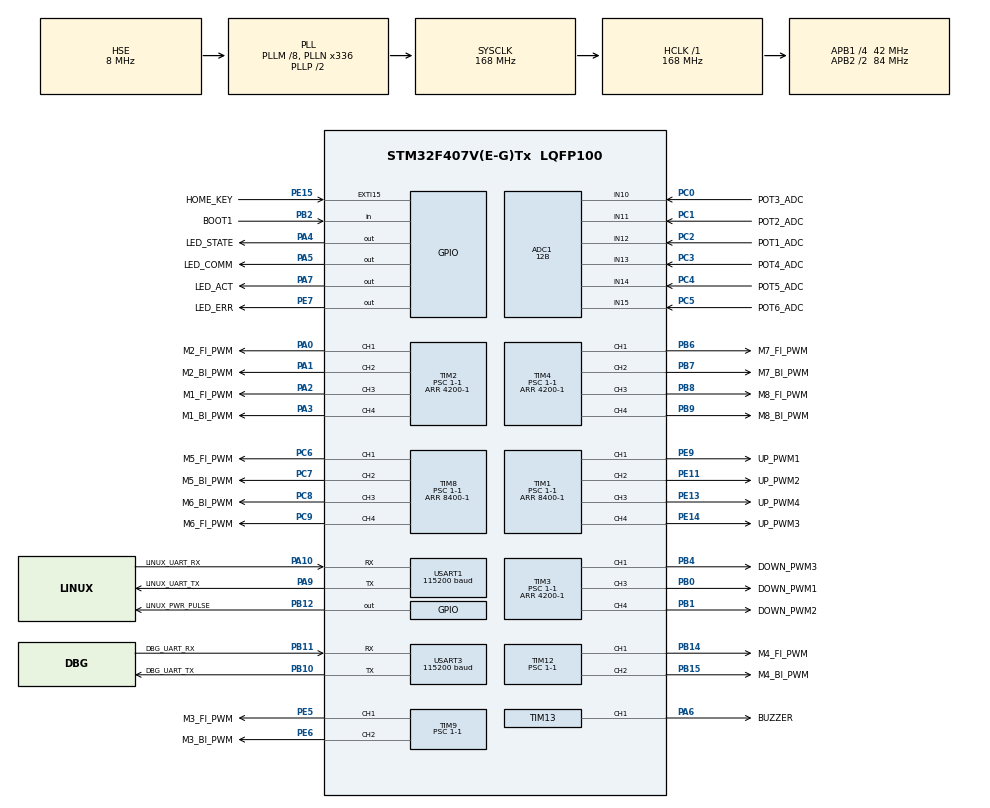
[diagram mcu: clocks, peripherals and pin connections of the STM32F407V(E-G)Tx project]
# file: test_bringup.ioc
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ADC1.Channel-0\#ChannelRegularConversion=ADC_CHANNEL_12
ADC1.Channel-1\#ChannelRegularConversion=ADC_CHANNEL_11
ADC1.Channel-2\#ChannelRegularConversion=ADC_CHANNEL_10
ADC1.Channel-3\#ChannelRegularConversion=ADC_CHANNEL_13
ADC1.Channel-4\#ChannelRegularConversion=ADC_CHANNEL_14
ADC1.Channel-5\#ChannelRegularConversion=ADC_CHANNEL_15
ADC1.ClockPrescaler=ADC_CLOCK_SYNC_PCLK_DIV4
ADC1.ContinuousConvMode=DISABLE
ADC1.DMAContinuousRequests=DISABLE
ADC1.DataAlign=ADC_DATAALIGN_RIGHT
ADC1.DiscontinuousConvMode=DISABLE
ADC1.EOCSelection=ADC_EOC_SEQ_CONV
ADC1.ExternalTrigConvEdge=ADC_EXTERNALTRIGCONVEDGE_NONE
ADC1.NbrOfConversion=6
ADC1.NbrOfConversionFlag=1
ADC1.Rank-0\#ChannelRegularConversion=1
ADC1.Rank-1\#ChannelRegularConversion=2
ADC1.Rank-2\#ChannelRegularConversion=3
ADC1.Rank-3\#ChannelRegularConversion=4
ADC1.Rank-4\#ChannelRegularConversion=5
ADC1.Rank-5\#ChannelRegularConversion=6
ADC1.Resolution=ADC_RESOLUTION_12B
ADC1.SamplingTime-0\#ChannelRegularConversion=ADC_SAMPLETIME_84CYCLES
ADC1.SamplingTime-1\#ChannelRegularConversion=ADC_SAMPLETIME_84CYCLES
ADC1.SamplingTime-2\#ChannelRegularConversion=ADC_SAMPLETIME_84CYCLES
ADC1.SamplingTime-3\#ChannelRegularConversion=ADC_SAMPLETIME_84CYCLES
ADC1.SamplingTime-4\#ChannelRegularConversion=ADC_SAMPLETIME_84CYCLES
ADC1.SamplingTime-5\#ChannelRegularConversion=ADC_SAMPLETIME_84CYCLES
ADC1.ScanConvMode=ENABLE
ADC1.master=1
Dma.ADC1.0.Direction=DMA_PERIPH_TO_MEMORY
Dma.ADC1.0.FIFOMode=DMA_FIFOMODE_DISABLE
Dma.ADC1.0.Instance=DMA2_Stream0
Dma.ADC1.0.MemDataAlignment=DMA_MDATAALIGN_WORD
Dma.ADC1.0.MemInc=DMA_MINC_ENABLE
Dma.ADC1.0.Mode=DMA_NORMAL
Dma.ADC1.0.PeriphDataAlignment=DMA_PDATAALIGN_WORD
Dma.ADC1.0.PeriphInc=DMA_PINC_DISABLE
Dma.ADC1.0.Priority=DMA_PRIORITY_MEDIUM
Dma.Request0=ADC1
Mcu.Family=STM32F4
Mcu.Name=STM32F407V(E-G)Tx
Mcu.Package=LQFP100
NVIC.ADC_IRQn=true\:0\:0\:false\:false\:true\:true\:true\:true
NVIC.DMA2_Stream0_IRQn=true\:0\:0\:false\:false\:true\:false\:true\:true
NVIC.EXTI15_10_IRQn=true\:5\:0\:true\:false\:true\:false\:true\:true
NVIC.PriorityGroup=NVIC_PRIORITYGROUP_4
NVIC.TIM6_DAC_IRQn=true\:15\:0\:false\:false\:true\:false\:true\:true
NVIC.TimeBase=TIM6_DAC_IRQn
NVIC.TimeBaseIP=TIM6
NVIC.USART1_IRQn=true\:0\:0\:false\:false\:true\:true\:true\:true
NVIC.USART3_IRQn=true\:5\:0\:true\:false\:true\:true\:true\:true
PA0-WKUP.GPIO_Label=M2_FI_PWM
PA0-WKUP.Signal=S_TIM2_CH1_ETR
PA1.GPIO_Label=M2_BI_PWM
PA1.Signal=S_TIM2_CH2
PA10.GPIO_Label=LINUX_UART_RX
PA10.Mode=Asynchronous
PA10.Signal=USART1_RX
PA13.Mode=Serial_Wire
PA13.Signal=SYS_JTMS-SWDIO
PA14.Mode=Serial_Wire
PA14.Signal=SYS_JTCK-SWCLK
PA2.GPIO_Label=M1_FI_PWM
PA2.Signal=S_TIM2_CH3
PA3.GPIO_Label=M1_BI_PWM
PA3.Signal=S_TIM2_CH4
PA4.GPIO_Label=LED_STATE
PA4.PinState=GPIO_PIN_SET
PA4.Signal=GPIO_Output
PA5.GPIO_Label=LED_COMM
PA5.PinState=GPIO_PIN_SET
PA5.Signal=GPIO_Output
PA6.GPIO_Label=BUZZER
PA6.Signal=S_TIM13_CH1
PA7.GPIO_Label=LED_ACT
PA7.PinState=GPIO_PIN_SET
PA7.Signal=GPIO_Output
PA9.GPIO_Label=LINUX_UART_TX
PA9.Mode=Asynchronous
PA9.Signal=USART1_TX
PB0.GPIO_Label=DOWN_PWM1
PB0.Signal=S_TIM3_CH3
PB1.GPIO_Label=DOWN_PWM2
PB1.Signal=S_TIM3_CH4
PB10.GPIO_Label=DBG_UART_TX
PB10.Mode=Asynchronous
PB10.Signal=USART3_TX
PB11.GPIO_Label=DBG_UART_RX
PB11.Mode=Asynchronous
PB11.Signal=USART3_RX
PB12.GPIO_Label=LINUX_PWR_PULSE
PB12.PinState=GPIO_PIN_RESET
PB12.Signal=GPIO_Output
PB14.GPIO_Label=M4_FI_PWM
PB14.Signal=S_TIM12_CH1
PB15.GPIO_Label=M4_BI_PWM
PB15.Signal=S_TIM12_CH2
PB2.GPIO_Label=BOOT1
PB2.GPIO_PuPd=GPIO_PULLDOWN
PB2.Signal=GPIO_Input
PB4.GPIO_Label=DOWN_PWM3
PB4.Signal=S_TIM3_CH1
PB6.GPIO_Label=M7_FI_PWM
PB6.Signal=S_TIM4_CH1
PB7.GPIO_Label=M7_BI_PWM
PB7.Signal=S_TIM4_CH2
PB8.GPIO_Label=M8_FI_PWM
PB8.Signal=S_TIM4_CH3
PB9.GPIO_Label=M8_BI_PWM
PB9.Signal=S_TIM4_CH4
PC0.GPIO_Label=POT3_ADC
PC0.Signal=ADCx_IN10
PC1.GPIO_Label=POT2_ADC
PC1.Signal=ADCx_IN11
PC14-OSC32_IN.Mode=LSE-External-Oscillator
PC14-OSC32_IN.Signal=RCC_OSC32_IN
PC15-OSC32_OUT.Mode=LSE-External-Oscillator
PC15-OSC32_OUT.Signal=RCC_OSC32_OUT
PC2.GPIO_Label=POT1_ADC
PC2.Signal=ADCx_IN12
PC3.GPIO_Label=POT4_ADC
PC3.Signal=ADCx_IN13
PC4.GPIO_Label=POT5_ADC
PC4.Signal=ADCx_IN14
PC5.GPIO_Label=POT6_ADC
PC5.Signal=ADCx_IN15
PC6.GPIO_Label=M5_FI_PWM
PC6.Signal=S_TIM8_CH1
PC7.GPIO_Label=M5_BI_PWM
PC7.Signal=S_TIM8_CH2
PC8.GPIO_Label=M6_BI_PWM
PC8.Signal=S_TIM8_CH3
PC9.GPIO_Label=M6_FI_PWM
PC9.Signal=S_TIM8_CH4
PE11.GPIO_Label=UP_PWM2
PE11.Signal=S_TIM1_CH2
PE13.GPIO_Label=UP_PWM4
PE13.Signal=S_TIM1_CH3
PE14.GPIO_Label=UP_PWM3
PE14.Signal=S_TIM1_CH4
PE15.GPIO_Label=HOME_KEY
PE15.GPIO_ModeDefaultEXTI=GPIO_MODE_IT_FALLING
PE15.Signal=GPXTI15
PE5.GPIO_Label=M3_FI_PWM
PE5.Signal=S_TIM9_CH1
PE6.GPIO_Label=M3_BI_PWM
PE6.Signal=S_TIM9_CH2
PE7.GPIO_Label=LED_ERR
PE7.PinState=GPIO_PIN_SET
PE7.Signal=GPIO_Output
PE9.GPIO_Label=UP_PWM1
PE9.Signal=S_TIM1_CH1
PH0-OSC_IN.Mode=HSE-External-Oscillator
PH0-OSC_IN.Signal=RCC_OSC_IN
PH1-OSC_OUT.Mode=HSE-External-Oscillator
PH1-OSC_OUT.Signal=RCC_OSC_OUT
ProjectManager.HeapSize=0x400
ProjectManager.StackSize=0x800
ProjectManager.TargetToolchain=CMake
RCC.48MHZClocksFreq_Value=48000000
RCC.AHBFreq_Value=168000000
RCC.APB1CLKDivider=RCC_HCLK_DIV4
RCC.APB1Freq_Value=42000000
RCC.APB1TimFreq_Value=84000000
RCC.APB2CLKDivider=RCC_HCLK_DIV2
RCC.APB2Freq_Value=84000000
RCC.APB2TimFreq_Value=168000000
RCC.CortexFreq_Value=168000000
RCC.HCLKFreq_Value=168000000
RCC.HSE_VALUE=8000000
RCC.HSI_VALUE=16000000
RCC.PLLM=8
RCC.PLLN=336
RCC.PLLQ=7
RCC.PLLSourceVirtual=RCC_PLLSOURCE_HSE
RCC.SYSCLKFreq_VALUE=168000000
RCC.SYSCLKSource=RCC_SYSCLKSOURCE_PLLCLK
RCC.VCOOutputFreq_Value=336000000
SH.ADCx_IN10.0=ADC1_IN10,IN10
SH.ADCx_IN11.0=ADC1_IN11,IN11
SH.ADCx_IN12.0=ADC1_IN12,IN12
SH.ADCx_IN13.0=ADC1_IN13,IN13
SH.ADCx_IN14.0=ADC1_IN14,IN14
SH.ADCx_IN15.0=ADC1_IN15,IN15
SH.S_TIM12_CH1.0=TIM12_CH1,PWM Generation1 CH1
SH.S_TIM12_CH2.0=TIM12_CH2,PWM Generation2 CH2
SH.S_TIM13_CH1.0=TIM13_CH1,PWM Generation1 CH1
SH.S_TIM1_CH1.0=TIM1_CH1,PWM Generation1 CH1
SH.S_TIM1_CH2.0=TIM1_CH2,PWM Generation2 CH2
SH.S_TIM1_CH3.0=TIM1_CH3,PWM Generation3 CH3
SH.S_TIM1_CH4.0=TIM1_CH4,PWM Generation4 CH4
SH.S_TIM2_CH1_ETR.0=TIM2_CH1,PWM Generation1 CH1
SH.S_TIM2_CH2.0=TIM2_CH2,PWM Generation2 CH2
SH.S_TIM2_CH3.0=TIM2_CH3,PWM Generation3 CH3
SH.S_TIM2_CH4.0=TIM2_CH4,PWM Generation4 CH4
SH.S_TIM3_CH1.0=TIM3_CH1,PWM Generation1 CH1
SH.S_TIM3_CH3.0=TIM3_CH3,PWM Generation3 CH3
SH.S_TIM3_CH4.0=TIM3_CH4,PWM Generation4 CH4
SH.S_TIM4_CH1.0=TIM4_CH1,PWM Generation1 CH1
SH.S_TIM4_CH2.0=TIM4_CH2,PWM Generation2 CH2
SH.S_TIM4_CH3.0=TIM4_CH3,PWM Generation3 CH3
SH.S_TIM4_CH4.0=TIM4_CH4,PWM Generation4 CH4
SH.S_TIM8_CH1.0=TIM8_CH1,PWM Generation1 CH1
SH.S_TIM8_CH2.0=TIM8_CH2,PWM Generation2 CH2
SH.S_TIM8_CH3.0=TIM8_CH3,PWM Generation3 CH3
SH.S_TIM8_CH4.0=TIM8_CH4,PWM Generation4 CH4
SH.S_TIM9_CH1.0=TIM9_CH1,PWM Generation1 CH1
SH.S_TIM9_CH2.0=TIM9_CH2,PWM Generation2 CH2
TIM1.AutoReloadPreload=TIM_AUTORELOAD_PRELOAD_ENABLE
TIM1.Channel-PWM\ Generation1\ CH1=TIM_CHANNEL_1
TIM1.Channel-PWM\ Generation2\ CH2=TIM_CHANNEL_2
TIM1.Channel-PWM\ Generation3\ CH3=TIM_CHANNEL_3
TIM1.Channel-PWM\ Generation4\ CH4=TIM_CHANNEL_4
TIM1.Period=8400-1
TIM1.Prescaler=1-1
TIM12.AutoReloadPreload=TIM_AUTORELOAD_PRELOAD_ENABLE
TIM12.Channel-PWM\ Generation1\ CH1=TIM_CHANNEL_1
TIM12.Channel-PWM\ Generation2\ CH2=TIM_CHANNEL_2
TIM12.Period=4200-1
TIM12.Prescaler=1-1
TIM13.AutoReloadPreload=TIM_AUTORELOAD_PRELOAD_ENABLE
TIM13.Channel=TIM_CHANNEL_1
TIM13.Period=31111-1
TIM13.Prescaler=84-1
TIM2.AutoReloadPreload=TIM_AUTORELOAD_PRELOAD_ENABLE
TIM2.Channel-PWM\ Generation1\ CH1=TIM_CHANNEL_1
TIM2.Channel-PWM\ Generation2\ CH2=TIM_CHANNEL_2
TIM2.Channel-PWM\ Generation3\ CH3=TIM_CHANNEL_3
TIM2.Channel-PWM\ Generation4\ CH4=TIM_CHANNEL_4
TIM2.Period=4200-1
TIM2.Prescaler=1-1
TIM3.AutoReloadPreload=TIM_AUTORELOAD_PRELOAD_ENABLE
TIM3.Channel-PWM\ Generation1\ CH1=TIM_CHANNEL_1
TIM3.Channel-PWM\ Generation3\ CH3=TIM_CHANNEL_3
TIM3.Channel-PWM\ Generation4\ CH4=TIM_CHANNEL_4
TIM3.Period=4200-1
TIM3.Prescaler=1-1
TIM4.AutoReloadPreload=TIM_AUTORELOAD_PRELOAD_ENABLE
TIM4.Channel-PWM\ Generation1\ CH1=TIM_CHANNEL_1
TIM4.Channel-PWM\ Generation2\ CH2=TIM_CHANNEL_2
TIM4.Channel-PWM\ Generation3\ CH3=TIM_CHANNEL_3
TIM4.Channel-PWM\ Generation4\ CH4=TIM_CHANNEL_4
TIM4.Period=4200-1
TIM4.Prescaler=1-1
TIM8.AutoReloadPreload=TIM_AUTORELOAD_PRELOAD_ENABLE
TIM8.Channel-PWM\ Generation1\ CH1=TIM_CHANNEL_1
TIM8.Channel-PWM\ Generation2\ CH2=TIM_CHANNEL_2
TIM8.Channel-PWM\ Generation3\ CH3=TIM_CHANNEL_3
TIM8.Channel-PWM\ Generation4\ CH4=TIM_CHANNEL_4
TIM8.Period=8400-1
TIM8.Prescaler=1-1
TIM9.AutoReloadPreload=TIM_AUTORELOAD_PRELOAD_ENABLE
TIM9.Channel-PWM\ Generation1\ CH1=TIM_CHANNEL_1
TIM9.Channel-PWM\ Generation2\ CH2=TIM_CHANNEL_2
TIM9.Period=8400-1
TIM9.Prescaler=1-1
USART1.BaudRate=115200
USART1.VirtualMode=VM_ASYNC
USART3.BaudRate=115200
USART3.VirtualMode=VM_ASYNC
VP_SYS_VS_tim6.Mode=TIM6
VP_TIM12_VS_ClockSourceINT.Mode=Internal
VP_TIM13_VS_ClockSourceINT.Mode=Enable_Timer
VP_TIM1_VS_ClockSourceINT.Mode=Internal
VP_TIM2_VS_ClockSourceINT.Mode=Internal
VP_TIM3_VS_ClockSourceINT.Mode=Internal
VP_TIM4_VS_ClockSourceINT.Mode=Internal
VP_TIM8_VS_ClockSourceINT.Mode=Internal
VP_TIM9_VS_ClockSourceINT.Mode=Internal
board=custom

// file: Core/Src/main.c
/* USER CODE BEGIN Header */
/**
 ******************************************************************************
 * @file           : main.c
 * @brief          : Main program body
 ******************************************************************************
 * @attention
 *
 * Copyright (c) 2026 STMicroelectronics.
 * All rights reserved.
 *
 * This software is licensed under terms that can be found in the LICENSE file
 * in the root directory of this software component.
 * If no LICENSE file comes with this software, it is provided AS-IS.
 *
 ******************************************************************************
 */
/* USER CODE END Header */
#include "main.h"

#include "adc.h"
#include "dma.h"
#include "gpio.h"
#include "tim.h"
#include "usart.h"

/* USER CODE BEGIN Includes */
#include "app_config.h"
#include "bringup_test.h"
#include "app_main.h"
#include "bsp_common.h"
#include "bsp_key.h"
#include "bsp_led.h"
#include "bsp_log.h"
#include "bsp_motor.h"
#include "bsp_watchdog.h"
#include "debug_console.h"

/* USER CODE END Includes */

/* USER CODE BEGIN PD */
/* 运行模式 APP_MODE 与看门狗超时在 Config/app_config.h 中修改。 */
#if (APP_MODE != APP_MODE_DEBUG) && (APP_MODE != APP_MODE_BOARD) && (APP_MODE != APP_MODE_ANDROID)
#error "Invalid APP_MODE: use APP_MODE_DEBUG, APP_MODE_BOARD or APP_MODE_ANDROID"
#endif

/* USER CODE END PD */

void SystemClock_Config(void);

int main(void)
{

    /* MCU
     * Configuration--------------------------------------------------------*/

    /* Reset of all peripherals, Initializes the Flash interface and the
     * Systick. */
    HAL_Init();

    /* Configure the system clock */
    SystemClock_Config();

    /* Initialize all configured peripherals */
    MX_GPIO_Init();
    MX_DMA_Init();
    MX_ADC1_Init();
    MX_TIM1_Init();
    MX_TIM2_Init();
    MX_TIM3_Init();
    MX_TIM4_Init();
    MX_TIM8_Init();
    MX_TIM9_Init();
    MX_TIM12_Init();
    MX_TIM13_Init();
    MX_USART1_UART_Init();
    MX_USART3_UART_Init();
    /* USER CODE BEGIN 2 */
    (void)bsp_led_init(); /* 出错指示先就绪 */
    if (bsp_log_init() != BSP_OK)
    {
        (void)bsp_led_set(BSP_LED_ID_ERROR, true);
        Error_Handler();
    }
    if (bsp_watchdog_take_reset_flag())
    {
        LOG_WARN("MAIN", "last reset was caused by the watchdog");
    }
#if APP_MODE == APP_MODE_BOARD
    if ((bsp_key_init() != BSP_OK) || (bsp_motor_init() != BSP_OK))
    {
        Error_Handler();
    }
    LOG_INFO("TEST",
             "board test ready; HOME to start; motor jogs at 80%% for 500ms");
#elif APP_MODE == APP_MODE_ANDROID
    app_init();
#else
    debug_console_init();
#endif
#if APP_MODE != APP_MODE_BOARD
    /* 初始化完成后再启动，初始化过程中的阻塞不计入看门狗超时。 */
    if (bsp_watchdog_start(APP_WATCHDOG_TIMEOUT_MS) != BSP_OK)
    {
        Error_Handler();
    }
#endif

    /* USER CODE END 2 */

    /* Infinite loop */
    /* USER CODE BEGIN WHILE */
    while (1)
    {
#if APP_MODE == APP_MODE_BOARD
        LOG_INFO("TEST", "press HOME to start one board test round");
        while (bringup_confirm(BRINGUP_CONFIRM_TIMEOUT_MS) != TEST_PASS)
        {
            HAL_Delay(5U);
        }
        bringup_run_all();
        if (bsp_motor_stop_all() != BSP_OK)
        {
            Error_Handler();
        }
        LOG_INFO("TEST", "round finished; motors stopped");
#elif APP_MODE == APP_MODE_ANDROID
        app_run_once();
        bsp_watchdog_feed();
#else
        debug_console_update();
        bsp_watchdog_feed();
#endif
        /* USER CODE END WHILE */

    }
}

void SystemClock_Config(void)
{
    RCC_OscInitTypeDef RCC_OscInitStruct = {0};
    RCC_ClkInitTypeDef RCC_ClkInitStruct = {0};

    /** Configure the main internal regulator output voltage
     */
    __HAL_RCC_PWR_CLK_ENABLE();
    __HAL_PWR_VOLTAGESCALING_CONFIG(PWR_REGULATOR_VOLTAGE_SCALE1);

    /** Initializes the RCC Oscillators according to the specified parameters
     * in the RCC_OscInitTypeDef structure.
     */
    RCC_OscInitStruct.OscillatorType = RCC_OSCILLATORTYPE_HSE;
    RCC_OscInitStruct.HSEState = RCC_HSE_ON;
    RCC_OscInitStruct.PLL.PLLState = RCC_PLL_ON;
    RCC_OscInitStruct.PLL.PLLSource = RCC_PLLSOURCE_HSE;
    RCC_OscInitStruct.PLL.PLLM = 8;
    RCC_OscInitStruct.PLL.PLLN = 336;
    RCC_OscInitStruct.PLL.PLLP = RCC_PLLP_DIV2;
    RCC_OscInitStruct.PLL.PLLQ = 7;
    if (HAL_RCC_OscConfig(&RCC_OscInitStruct) != HAL_OK)
    {
        Error_Handler();
    }

    /** Initializes the CPU, AHB and APB buses clocks
     */
    RCC_ClkInitStruct.ClockType = RCC_CLOCKTYPE_HCLK | RCC_CLOCKTYPE_SYSCLK |
                                  RCC_CLOCKTYPE_PCLK1 | RCC_CLOCKTYPE_PCLK2;
    RCC_ClkInitStruct.SYSCLKSource = RCC_SYSCLKSOURCE_PLLCLK;
    RCC_ClkInitStruct.AHBCLKDivider = RCC_SYSCLK_DIV1;
    RCC_ClkInitStruct.APB1CLKDivider = RCC_HCLK_DIV4;
    RCC_ClkInitStruct.APB2CLKDivider = RCC_HCLK_DIV2;

    if (HAL_RCC_ClockConfig(&RCC_ClkInitStruct, FLASH_LATENCY_5) != HAL_OK)
    {
        Error_Handler();
    }
}

/* USER CODE BEGIN 4 */
/* HAL 弱回调统一放在 Core/Src/hal_callback_dispatch.c，不在 main.c 定义。 */
/* USER CODE END 4 */

void HAL_TIM_PeriodElapsedCallback(TIM_HandleTypeDef *htim)
{
    if (htim->Instance == TIM6)
    {
        HAL_IncTick();
    }
}

void Error_Handler(void)
{
    /* USER CODE BEGIN Error_Handler_Debug */
    /* 不用 bsp_motor_stop_all()：它要求驱动已初始化，而这里可能在任何阶段进入。 */
    bsp_motor_emergency_stop();
    (void)bsp_led_set(BSP_LED_ID_ERROR, true);
    /* User can add his own implementation to report the HAL error return state
     */
    __disable_irq();
    while (1)
    {
    }
    /* USER CODE END Error_Handler_Debug */
}
#ifdef USE_FULL_ASSERT
/**
 * @brief  Reports the name of the source file and the source line number
 *         where the assert_param error has occurred.
 * @param  file: pointer to the source file name
 * @param  line: assert_param error line source number
 * @retval None
 */
void assert_failed(uint8_t *file, uint32_t line)
{
    /* USER CODE BEGIN 6 */
    /* User can add his own implementation to report the file name and line
       number, ex: printf("Wrong parameters value: file %s on line %d\r\n",
       file, line) */
    /* USER CODE END 6 */
}
#endif /* USE_FULL_ASSERT */
